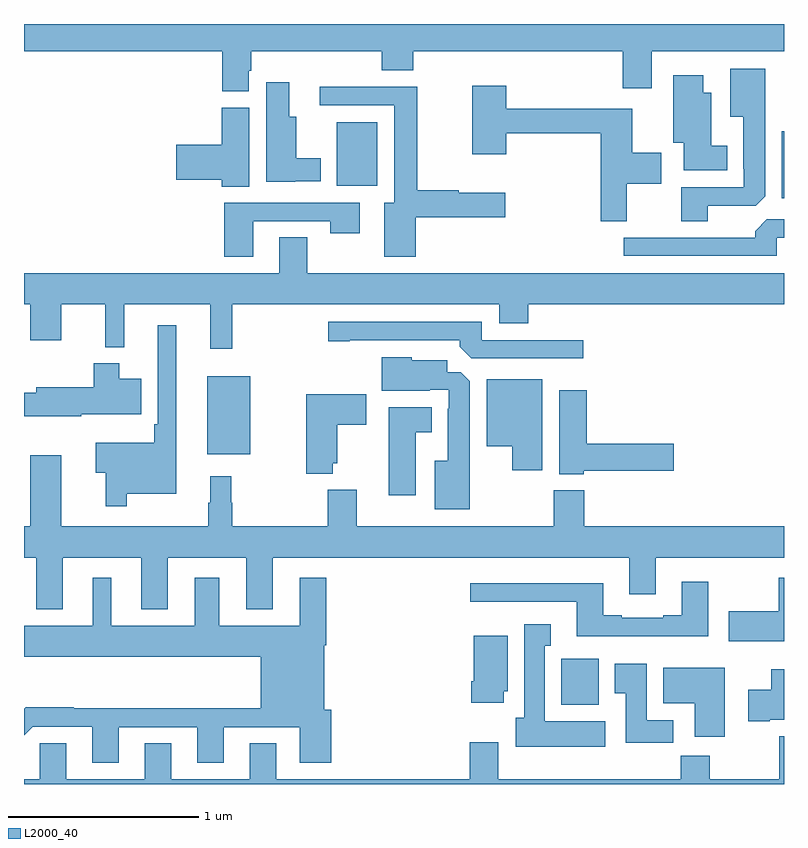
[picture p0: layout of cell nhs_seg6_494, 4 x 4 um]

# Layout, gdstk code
import gdstk
lib = gdstk.Library(unit=1e-6, precision=1e-09)
def R(c, l, rs):  # rectangles x0, y0, x1, y1
    for r in rs: c.add(gdstk.rectangle(r[:2], r[2:], *l))
def P(c, l, *ps):  # polygons
    for p in ps: c.add(gdstk.Polygon(p, *l))
L2000_40 = (2000, 40)

nhs_seg6_494 = lib.new_cell('nhs_seg6_494')
R(nhs_seg6_494, L2000_40, [(143.828,923.918,144.025,924.16), (141.965,925.235,142.192,925.645), (144.989,926.582,145,926.935), (142.646,926.648,142.858,926.983)])
P(nhs_seg6_494, L2000_40, [(142.183,927.255),(142.196,927.255),(142.196,927.356),(142.883,927.356),(142.883,927.257),(143.048,927.257),(143.048,927.356),(144.152,927.356),(144.152,927.162),(144.304,927.162),(144.304,927.356),(145,927.356),(145,927.5),(141,927.5),(141,927.356),(142.043,927.356),(142.043,927.145),(142.183,927.145)],
  [(144.598,926.544),(144.852,926.544),(144.901,926.593),(144.901,927.265),(144.716,927.265),(144.716,927.011),(144.785,927.011),(144.785,926.737),(144.789,926.737),(144.789,926.64),(144.458,926.64),(144.458,926.461),(144.598,926.461)],
  [(144.7,926.86),(144.616,926.86),(144.616,927.139),(144.574,927.139),(144.574,927.229),(144.416,927.229),(144.416,926.876),(144.473,926.876),(144.473,926.729),(144.7,926.729)],
  [(142.428,926.672),(142.561,926.672),(142.561,926.794),(142.432,926.794),(142.432,927.013),(142.396,927.013),(142.396,927.193),(142.274,927.193),(142.274,926.669),(142.428,926.669)],
  [(144.172,926.66),(144.355,926.66),(144.355,926.823),(144.202,926.823),(144.202,927.055),(143.537,927.055),(143.537,927.175),(143.359,927.175),(143.359,926.814),(143.537,926.814),(143.537,926.926),(144.035,926.926),(144.035,926.463),(144.172,926.463)],
  [(143.062,926.482),(143.533,926.482),(143.533,926.611),(143.289,926.611),(143.289,926.624),(143.07,926.624),(143.07,927.17),(142.557,927.17),(142.557,927.072),(142.949,927.072),(142.949,926.56),(142.895,926.56),(142.895,926.274),(143.062,926.274)],
  [(142.186,927.06),(142.04,927.06),(142.04,926.864),(141.801,926.864),(141.801,926.681),(142.04,926.681),(142.04,926.644),(142.186,926.644)],
  [(142.207,926.463),(142.612,926.463),(142.612,926.4),(142.768,926.4),(142.768,926.559),(142.055,926.559),(142.055,926.274),(142.207,926.274)],
  [(144.963,926.376),(145,926.376),(145,926.472),(144.909,926.472),(144.848,926.41),(144.848,926.376),(144.156,926.376),(144.156,926.28),(144.963,926.28)],
  [(142.097,926.024),(143.501,926.024),(143.501,925.925),(143.654,925.925),(143.654,926.024),(145,926.024),(145,926.188),(142.491,926.188),(142.491,926.378),(142.343,926.378),(142.343,926.188),(141,926.188),(141,926.024),(141.032,926.024),(141.032,925.836),(141.196,925.836),(141.196,926.024),(141.427,926.024),(141.427,925.799),(141.527,925.799),(141.527,926.024),(141.98,926.024),(141.98,925.791),(142.097,925.791)],
  [(143.944,925.836),(143.409,925.836),(143.409,925.932),(142.602,925.932),(142.602,925.831),(142.714,925.831),(142.714,925.836),(143.294,925.836),(143.294,925.802),(143.355,925.74),(143.944,925.74)],
  [(141.541,925.028),(141.802,925.028),(141.802,925.915),(141.705,925.915),(141.705,925.393),(141.685,925.393),(141.685,925.297),(141.378,925.297),(141.378,925.139),(141.43,925.139),(141.43,924.963),(141.541,924.963)],
  [(143.347,925.619),(143.298,925.668),(143.227,925.668),(143.227,925.729),(143.04,925.729),(143.04,925.747),(142.883,925.747),(142.883,925.571),(143.135,925.571),(143.135,925.575),(143.235,925.575),(143.235,925.475),(143.231,925.475),(143.231,925.201),(143.162,925.201),(143.162,924.947),(143.347,924.947)],
  [(141.3,925.445),(141.616,925.445),(141.616,925.633),(141.502,925.633),(141.502,925.714),(141.368,925.714),(141.368,925.588),(141.065,925.588),(141.065,925.558),(141,925.558),(141,925.436),(141.3,925.436)],
  [(143.728,925.63),(143.435,925.63),(143.435,925.277),(143.57,925.277),(143.57,925.152),(143.728,925.152)],
  [(143.946,925.15),(144.421,925.15),(144.421,925.292),(143.963,925.292),(143.963,925.573),(143.816,925.573),(143.816,925.13),(143.946,925.13)],
  [(142.626,925.187),(142.648,925.187),(142.648,925.39),(142.801,925.39),(142.801,925.552),(142.486,925.552),(142.486,925.133),(142.626,925.133)],
  [(143.062,925.352),(143.146,925.352),(143.146,925.483),(142.919,925.483),(142.919,925.02),(143.062,925.02)],
  [(144.185,924.498),(144.325,924.498),(144.325,924.692),(145,924.692),(145,924.856),(143.948,924.856),(143.948,925.045),(143.788,925.045),(143.788,924.856),(142.75,924.856),(142.75,925.048),(142.598,925.048),(142.598,924.856),(142.097,924.856),(142.097,924.98),(142.09,924.98),(142.09,925.12),(141.98,925.12),(141.98,924.98),(141.969,924.98),(141.969,924.856),(141.196,924.856),(141.196,925.231),(141.032,925.231),(141.032,924.856),(141,924.856),(141,924.692),(141.065,924.692),(141.065,924.419),(141.205,924.419),(141.205,924.692),(141.617,924.692),(141.617,924.419),(141.757,924.419),(141.757,924.692),(142.169,924.692),(142.169,924.419),(142.309,924.419),(142.309,924.692),(144.185,924.692)],
  [(145,924.586),(144.972,924.586),(144.972,924.409),(144.708,924.409),(144.708,924.251),(145,924.251)],
  [(141.499,923.799),(141.911,923.799),(141.911,923.613),(142.051,923.613),(142.051,923.799),(142.451,923.799),(142.451,923.613),(142.616,923.613),(142.616,923.892),(142.579,923.892),(142.579,924.23),(142.592,924.23),(142.592,924.586),(142.451,924.586),(142.451,924.334),(142.027,924.334),(142.027,924.586),(141.899,924.586),(141.899,924.334),(141.46,924.334),(141.46,924.586),(141.362,924.586),(141.362,924.334),(141,924.334),(141,924.17),(142.247,924.17),(142.247,923.9),(141.263,923.9),(141.263,923.903),(141.008,923.903),(141,923.895),(141,923.757),(141.045,923.802),(141.359,923.802),(141.359,923.613),(141.499,923.613)],
  [(144.601,924.565),(144.461,924.565),(144.461,924.388),(144.365,924.388),(144.365,924.375),(144.145,924.375),(144.145,924.388),(144.049,924.388),(144.049,924.556),(143.349,924.556),(143.349,924.459),(143.909,924.459),(143.909,924.278),(144.601,924.278)],
  [(144.058,923.83),(143.74,923.83),(143.74,924.227),(143.773,924.227),(143.773,924.34),(143.633,924.34),(143.633,923.85),(143.588,923.85),(143.588,923.696),(144.058,923.696)],
  [(143.524,923.988),(143.545,923.988),(143.545,924.28),(143.366,924.28),(143.366,924.04),(143.354,924.04),(143.354,923.928),(143.524,923.928)],
  [(144.416,923.836),(144.277,923.836),(144.277,924.133),(144.11,924.133),(144.11,923.977),(144.167,923.977),(144.167,923.718),(144.416,923.718)],
  [(144.688,924.112),(144.365,924.112),(144.365,923.924),(144.53,923.924),(144.53,923.748),(144.688,923.748)],
  [(144.925,923.837),(145,923.837),(145,924.103),(144.932,924.103),(144.932,923.995),(144.813,923.995),(144.813,923.83),(144.925,923.83)],
  [(145,923.752),(144.976,923.752),(144.976,923.524),(144.609,923.524),(144.609,923.648),(144.457,923.648),(144.457,923.524),(143.497,923.524),(143.497,923.719),(143.345,923.719),(143.345,923.524),(142.327,923.524),(142.327,923.714),(142.187,923.714),(142.187,923.524),(141.775,923.524),(141.775,923.714),(141.635,923.714),(141.635,923.524),(141.223,923.524),(141.223,923.714),(141.084,923.714),(141.084,923.524),(141,923.524),(141,923.5),(145,923.5)])

lib.write_gds('nhs_seg6_494.gds')
